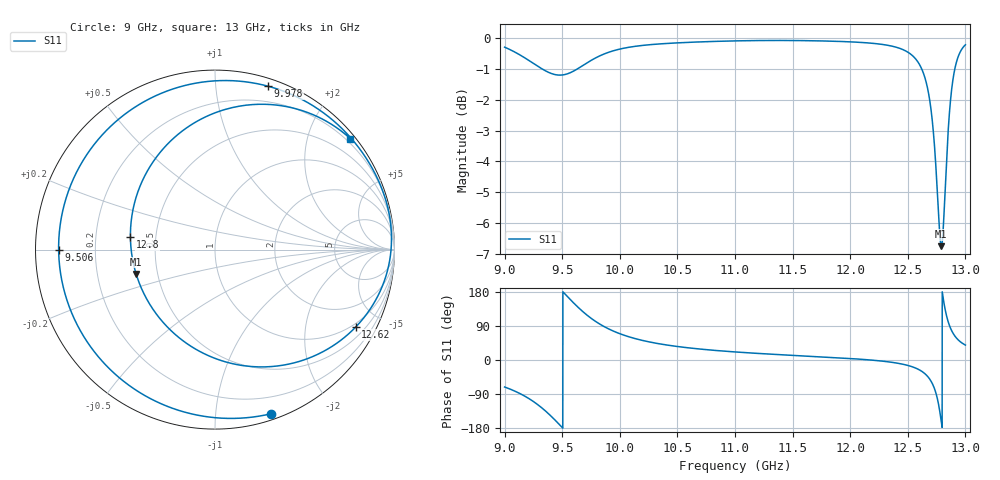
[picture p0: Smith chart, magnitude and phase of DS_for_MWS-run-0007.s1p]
! TOUCHSTONE file generated by CST DESIGN STUDIO
! Date and time: Tue Feb  4 14:17:32 2025
! Project name: C:\Work\MatlabApps\UnitCellOptimizationMatlab\CST\unitcell.cst
! Tree item: Tasks\Sweep1\SPara1\S-Parameters
! Header version: 2024
! Port assignment regex: !\s*Touchstone port\s*([0-9]+)\s*=\s*(CST MWS port|CST DES external port|CST DES block port)\s*(.+)\s* \(\"(.*)\"\)(\s*mode\s*([0-9]+))?.*
! Touchstone port assignment:
! Touchstone port 1 = CST DES external port 1 ("")
# GHz S MA R 50
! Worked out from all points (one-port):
!   4001 points, 9 GHz to 13 GHz, reference 50 ohm
!   lowest |S11| = -6.7 dB at 12.79 GHz (marker M1), VSWR 2.70, Z = 18.9 - j6.48 ohm
!   |S11| at or under -10 dB: nowhere
!   S11 on the Smith chart (normalised r, x): 9 GHz: 0.05, -1.39; 9.506 GHz: 0.07, +0.00; 9.978 GHz: 0.06, +1.37; 12.62 GHz: 0.86, -3.71; 12.8 GHz: 0.36, +0.06; 13 GHz: 0.11, +2.79
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9  0.9662 -71.2
9.16  0.9322 -92.8
9.279  0.9021 -115.9
9.383  0.8793 -142.3
9.5  0.871 -178.1
9.506  0.8712 180.0
9.599  0.8838 150.6
9.723  0.9131 116.6
9.833  0.9366 93.5
9.978  0.9571 72.0
10  0.9593 69.4
10.214  0.9732 50.4
10.5  0.9818 35.6
11  0.9891 21.3
11.5  0.9905 12.2
12  0.9855 3.9
12.305  0.9745 -3.9
12.5  0.9484 -14.3
12.616  0.8949 -28.8
12.681  0.812 -46.6
12.732  0.6675 -75.9
12.762  0.5384 -109.3
12.791  0.46 -162.9
12.803  0.4764 171.6
12.838  0.6425 114.7
12.871  0.7933 83.8
12.929  0.9227 55.7
13  0.9748 39.4
